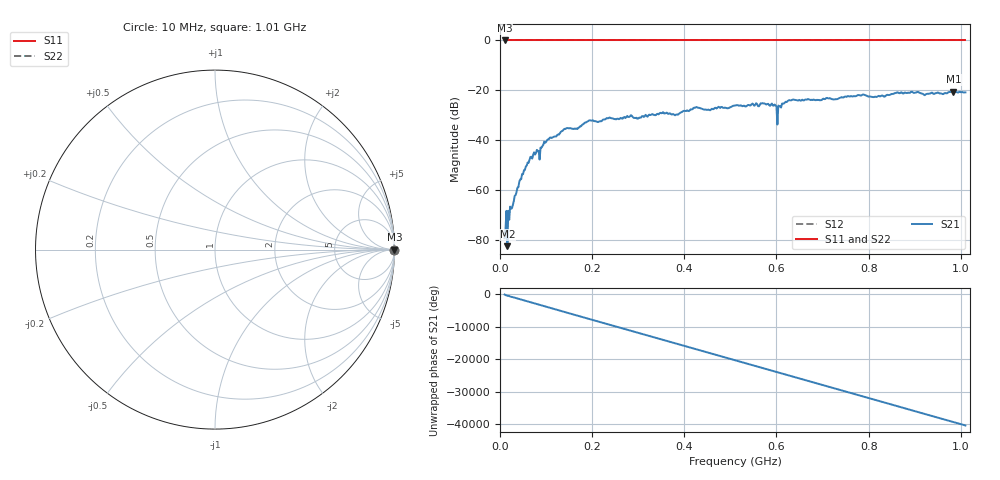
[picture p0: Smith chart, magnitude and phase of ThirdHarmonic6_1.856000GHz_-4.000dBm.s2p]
! 8/16/2025 10:26:52 PM
! C:\ANRITSUVNA\TEMP\TEMP.S2P
! CHANNEL.1
! TR.MEASUREMENT
! RAW.DATA
! RF.CORRECTION.OFF
! AVERAGING.OFF
! IF.BANDWIDTH: 5KHZ
! SWEEPTYPE:  FREQ.SWEEP(Linear)
! Reference Plane Port Info
! PORT:  PORT1  PORT2
! DISTANCE:  0  m  0  m
! TIME:  0  s  0  s
! PHASE.OFFSET:  0  deg.  0  deg.
! LOSS:  0  dB  0  dB
! REF.LOSS:  0  dB  0  dB
! REF.FREQ:  0  Hz  0  Hz
! Power Info
! POWER:  -20  dBm  -20  dBm
! EFF.POWER:  -20  dBm  -20  dBm
! SOURCE.ATTEN:  0  dB  0  dB
! TEST.ATTEN:  0  dB  0  dB
# GHZ S RI R 50.0
! FREQ.GHZ  S11RE  S11IM  S21RE  S21IM  S12RE  S12IM  S22RE  S22IM
!; PortSelection: Port_12
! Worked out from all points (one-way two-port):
!   501 points, 10 MHz to 1.01 GHz, reference 50 ohm
!   highest |S21| = -20.51 dB at 984 MHz (marker M1); lowest = -82.6 dB at 16 MHz (marker M2)
!   lowest |S11| = 0.0 dB at 10 MHz (marker M3)
!   |S11| at or under -10 dB: nowhere
!   |S22| runs from 0.0 to 0.0 dB; largest |S21 - S12| = 1.1
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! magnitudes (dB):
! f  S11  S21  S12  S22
! 10 MHz  0.0  -79.4  0.0  0.0
! 12 MHz  0.0  -75.6  0.0  0.0
! 16 MHz  0.0  -82.6  0.0  0.0
! 46 MHz  0.0  -55.7  0.0  0.0
! 70 MHz  0.0  -47.4  0.0  0.0
! 86 MHz  0.0  -47.8  0.0  0.0
! 106 MHz  0.0  -39.6  0.0  0.0
! 142 MHz  0.0  -35.5  0.0  0.0
! 178 MHz  0.0  -33.9  0.0  0.0
! 196 MHz  0.0  -32.1  0.0  0.0
! 344 MHz  0.0  -29.7  0.0  0.0
! 382 MHz  0.0  -29.8  0.0  0.0
! 424 MHz  0.0  -27.0  0.0  0.0
! 510 MHz  0.0  -26.1  0.0  0.0
! 570 MHz  0.0  -25.2  0.0  0.0
! 606 MHz  0.0  -26.4  0.0  0.0
! 608 MHz  0.0  -26.4  0.0  0.0
! 628 MHz  0.0  -24.0  0.0  0.0
! 678 MHz  0.0  -23.9  0.0  0.0
! 844 MHz  0.0  -21.9  0.0  0.0
! 984 MHz  0.0  -20.5  0.0  0.0
! 1.01 GHz  0.0  -20.8  0.0  0.0
